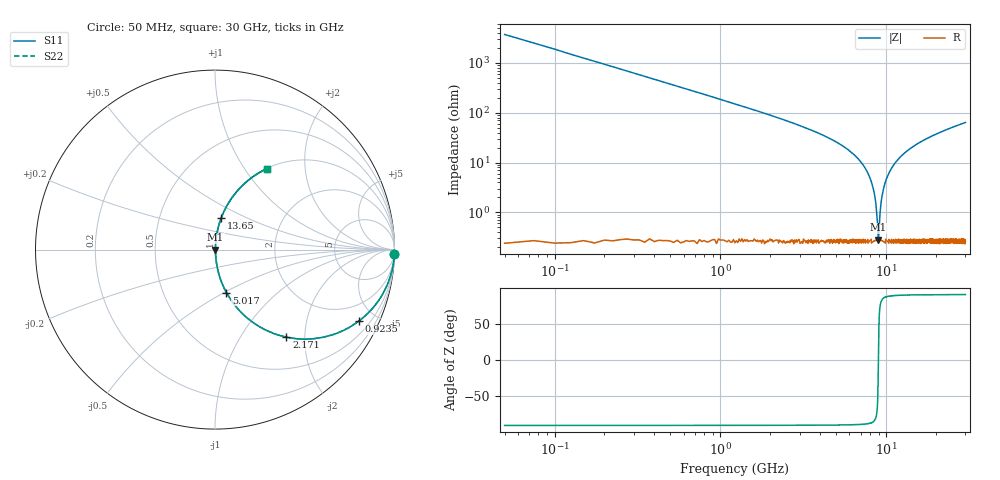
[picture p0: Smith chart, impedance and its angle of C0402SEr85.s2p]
!	AVX Thin Film Operation 	Date: April 2014
!	Description: Accu-P® Series, Thin Film  SMD RF Capacitor
!	Part Number: 04021JR85ZBSTR
# MHZ S MA R 50
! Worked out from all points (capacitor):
!   1201 points, 50 MHz to 30 GHz, reference 50 ohm
!   read as one part in series: C = 849 fF near 199.8 MHz
!   lowest |Z| = 284 mohm at 8.96 GHz (marker M1)
!   series resonance near 8.966 GHz, so ESL is about 370 pH
!   S11 on the Smith chart (normalised r, x): 50 MHz: -0, -75; 923.5 MHz: 1.01, -4.01; 2.171 GHz: 1.01, -1.62; 5.017 GHz: 1.01, -0.51; 13.65 GHz: 1.01, +0.36; 30 GHz: 1.01, +1.27
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50  1 -1.5  0.027 88.5  0.027 88.5  1 -1.5
374.458  0.98 -11.3  0.196 78.6  0.196 78.6  0.98 -11.3
923.542  0.894 -26.5  0.446 63.4  0.446 63.4  0.894 -26.5
2171.458  0.629 -50.8  0.775 39.0  0.775 39.0  0.629 -50.8
3369.458  0.43 -64.2  0.901 25.5  0.901 25.5  0.43 -64.2
5016.708  0.248 -75.1  0.966 14.3  0.966 14.3  0.248 -75.1
5041.667  0.246 -75.2  0.967 14.2  0.967 14.2  0.246 -75.2
6763.792  0.118 -81.9  0.99 6.8  0.99 6.8  0.118 -81.9
7886.917  0.054 -84.1  0.996 3.1  0.996 3.1  0.054 -84.1
8510.875  0.022 -81.8  0.997 1.2  0.997 1.2  0.022 -81.8
8860.292  0.005588 -61.5  0.997 0.3  0.997 0.3  0.005588 -61.5
8960.125  0.002656 -5.5  0.997 0.0  0.997 0.0  0.002656 -5.5
9059.958  0.005099 58.5  0.997 -0.2  0.997 -0.2  0.005099 58.5
9234.667  0.013 77.2  0.997 -0.7  0.997 -0.7  0.013 77.2
9409.375  0.02 81.4  0.997 -1.2  0.997 -1.2  0.02 81.4
10058.29  0.048 84.1  0.996 -2.7  0.996 -2.7  0.048 84.1
11431  0.102 82.7  0.992 -5.8  0.992 -5.8  0.102 82.7
13652.29  0.178 78.9  0.982 -10.2  0.982 -10.2  0.178 78.9
15025  0.219 76.7  0.973 -12.7  0.973 -12.7  0.219 76.7
20016.67  0.348 69.2  0.935 -20.4  0.935 -20.4  0.348 69.2
25033.29  0.452 62.8  0.89 -26.9  0.89 -26.9  0.452 62.8
30000  0.536 57.4  0.842 -32.4  0.842 -32.4  0.536 57.4
